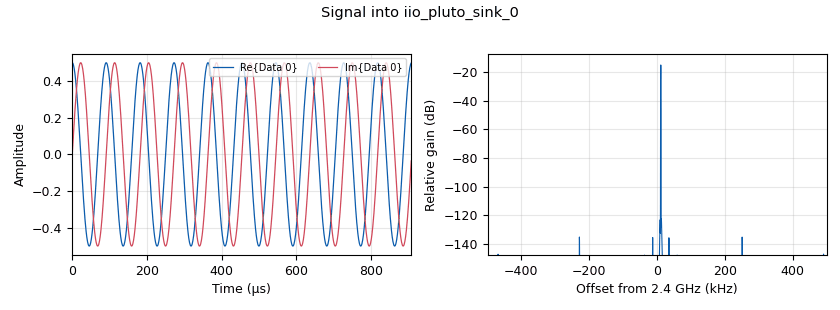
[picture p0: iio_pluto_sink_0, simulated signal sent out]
options:
  parameters:
    generate_options: qt_gui
    id: Communication_task1_modulation
    output_language: python
    title: Not titled yet
  states: {}

blocks:
- name: samp_rate
  id: variable
  parameters:
    value: 1e6
  states: {}
- name: analog_sig_source_x_0
  id: analog_sig_source_x
  parameters:
    alias: Message
    amp: '0.5'
    freq: 1e3
    offset: '0'
    phase: '0'
    samp_rate: samp_rate
    type: complex
    waveform: analog.GR_SIN_WAVE
  states: {}
- name: analog_sig_source_x_1
  id: analog_sig_source_x
  parameters:
    alias: Carrier
    amp: '1'
    freq: 1e4
    offset: '0'
    phase: '0'
    samp_rate: samp_rate
    type: complex
    waveform: analog.GR_SIN_WAVE
  states: {}
- name: blocks_multiply_xx_0
  id: blocks_multiply_xx
  parameters:
    alias: mul
    type: complex
  states: {}
- name: iio_pluto_sink_0
  id: iio_pluto_sink
  parameters:
    attenuation1: '10.0'
    bandwidth: '20000000'
    buffer_size: '32768'
    cyclic: 'False'
    filter_source: '''Auto'''
    frequency: '2400000000'
    samplerate: '1000000'
    type: fc32
  states: {}

connections:
- [analog_sig_source_x_0, '0', blocks_multiply_xx_0, '0']
- [analog_sig_source_x_1, '0', blocks_multiply_xx_0, '1']
- [blocks_multiply_xx_0, '0', iio_pluto_sink_0, '0']

metadata:
  file_format: 1
  grc_version: 3.10.10.0
